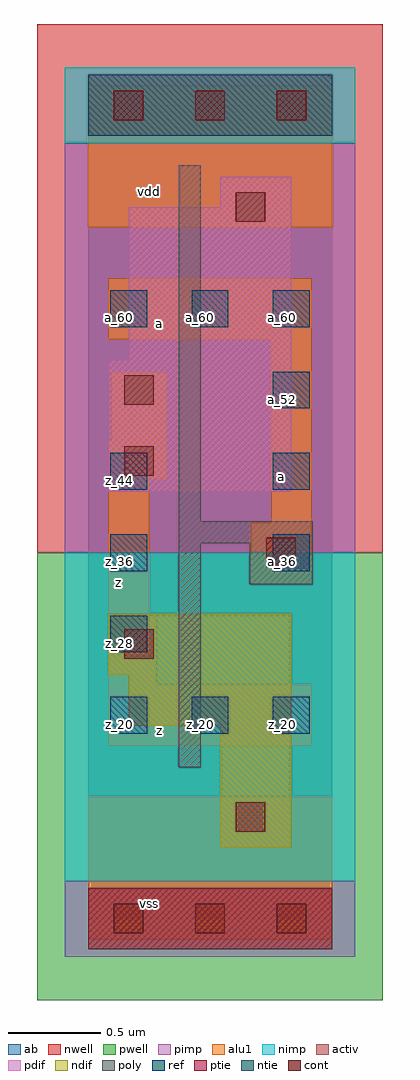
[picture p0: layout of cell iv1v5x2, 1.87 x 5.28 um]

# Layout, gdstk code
import gdstk
lib = gdstk.Library(unit=1e-6, precision=2.5e-09)
def R(c, l, rs):  # rectangles x0, y0, x1, y1
    for r in rs: c.add(gdstk.rectangle(r[:2], r[2:], *l))
def A(c, l, x, y, w, h, nx, ny, dx, dy):  # array of equal rectangles
    R(c, l, [(x+i*dx, y+j*dy, x+i*dx+w, y+j*dy+h) for i in range(nx) for j in range(ny)])
ndif = (3, 0)
pdif = (4, 0)
ntie = (5, 0)
ptie = (6, 0)
ref = (24, 0)
cont = (25, 0)
pwell = (41, 0)
nwell = (42, 0)
activ = (43, 0)
pimp = (44, 0)
nimp = (45, 0)
poly = (46, 0)
alu1 = (49, 0)
ab = (63, 0)

iv1v5x2 = lib.new_cell('iv1v5x2')
R(iv1v5x2, ndif, [(0.715,0.385,1.1,1.045), (0.22,1.045,1.1,1.32), (0.11,1.32,1.1,1.65)])
R(iv1v5x2, pdif, [(0.11,2.31,1.1,3.025), (0.22,3.025,1.1,3.85), (0.715,3.85,1.1,4.015)])
R(iv1v5x2, ntie, [(0,4.235,1.32,4.565)])
R(iv1v5x2, ptie, [(0,-0.165,1.32,0.165)])
A(iv1v5x2, ref, 0.12, 1, 0.2, 0.2, 3, 2, 0.44, 2.2)
A(iv1v5x2, ref, 0.12, 1.44, 0.2, 0.2, 1, 3, 0, 0.44)
A(iv1v5x2, ref, 1, 1.88, 0.2, 0.2, 1, 3, 0, 0.44)
A(iv1v5x2, cont, 0.14, -0.08, 0.16, 0.16, 3, 2, 0.44, 4.4)
R(iv1v5x2, cont, [(0.8,0.47,0.96,0.63), (0.195,1.405,0.355,1.565), (0.965,1.9,1.125,2.06), (0.195,2.395,0.355,2.555), (0.195,2.78,0.355,2.94), (0.8,3.77,0.96,3.93)])
R(iv1v5x2, pwell, [(-0.275,-0.44,1.595,1.98)])
R(iv1v5x2, nwell, [(-0.275,1.98,1.595,4.84)])
R(iv1v5x2, activ, [(0,-0.165,1.32,0.165), (0.715,0.385,1.1,1.045), (0.22,1.045,1.1,1.32), (0.11,1.32,1.1,1.65), (0.11,2.31,1.1,3.025), (0.22,3.025,1.1,3.85), (0.715,3.85,1.1,4.015), (0,4.235,1.32,4.565)])
R(iv1v5x2, pimp, [(-0.125,-0.205,1.445,0.205), (-0.125,1.98,1.445,4.195)])
R(iv1v5x2, nimp, [(-0.125,0.205,1.445,1.98), (-0.125,4.195,1.445,4.605)])
R(iv1v5x2, poly, [(0.49,0.82,0.61,2.03), (0.875,1.81,1.215,2.03), (0.49,2.03,1.215,2.15), (0.49,2.15,0.61,4.075)])
R(iv1v5x2, alu1, [(0,-0.11,1.32,0.66), (0.11,0.935,1.21,1.265), (0.11,1.265,0.37,1.635), (0.11,1.635,0.33,2.38), (0.88,1.815,1.21,2.145), (0.99,2.145,1.21,3.135), (0.11,2.38,0.425,2.585), (0.125,2.585,0.425,2.955), (0.11,3.135,1.21,3.465), (0,3.74,1.32,4.51)])
R(iv1v5x2, ab, [(0,0,1.32,4.4)])
iv1v5x2.add(gdstk.Label('vss', (0.33,0.0825), layer=49, texttype=0))
iv1v5x2.add(gdstk.Label('z', (0.385,1.0175), layer=49, texttype=0))
iv1v5x2.add(gdstk.Label('a', (1.045,2.3925), layer=49, texttype=0))
iv1v5x2.add(gdstk.Label('z', (0.165,1.82), layer=49, texttype=0))
iv1v5x2.add(gdstk.Label('a', (0.385,3.2175), layer=49, texttype=0))
iv1v5x2.add(gdstk.Label('vdd', (0.33,3.9325), layer=49, texttype=0))
iv1v5x2.add(gdstk.Label('z_20', (0.61,1.05), layer=24, texttype=0))
iv1v5x2.add(gdstk.Label('a_60', (0.61,3.25), layer=24, texttype=0))
iv1v5x2.add(gdstk.Label('z_20', (1.05,1.05), layer=24, texttype=0))
iv1v5x2.add(gdstk.Label('a_36', (1.05,1.93), layer=24, texttype=0))
iv1v5x2.add(gdstk.Label('a_44', (1.05,2.37), layer=24, texttype=0))
iv1v5x2.add(gdstk.Label('a_52', (1.05,2.81), layer=24, texttype=0))
iv1v5x2.add(gdstk.Label('a_60', (1.05,3.25), layer=24, texttype=0))
iv1v5x2.add(gdstk.Label('z_20', (0.17,1.05), layer=24, texttype=0))
iv1v5x2.add(gdstk.Label('z_28', (0.17,1.49), layer=24, texttype=0))
iv1v5x2.add(gdstk.Label('z_36', (0.17,1.93), layer=24, texttype=0))
iv1v5x2.add(gdstk.Label('z_44', (0.17,2.37), layer=24, texttype=0))
iv1v5x2.add(gdstk.Label('a_60', (0.17,3.25), layer=24, texttype=0))

lib.write_gds('iv1v5x2.gds')
